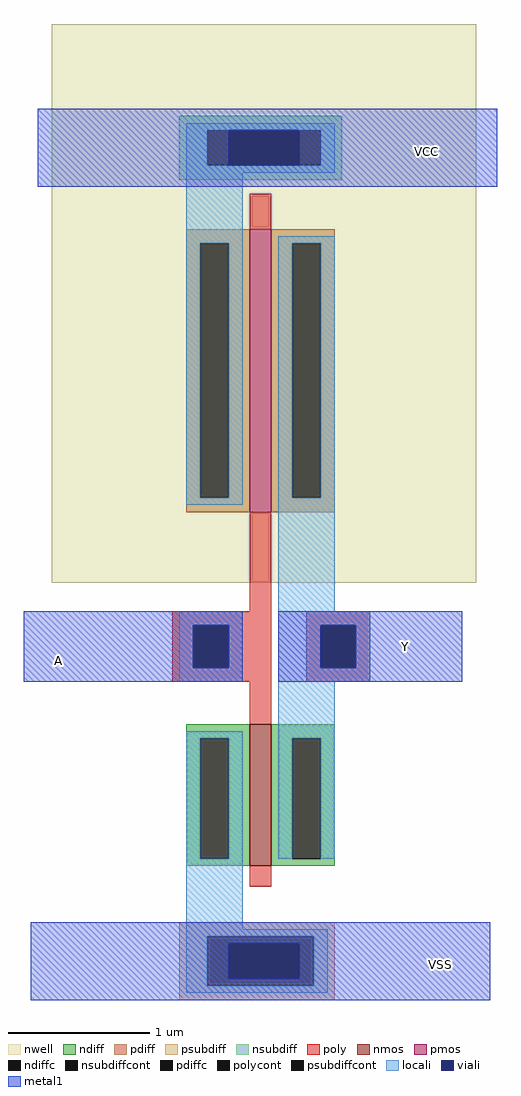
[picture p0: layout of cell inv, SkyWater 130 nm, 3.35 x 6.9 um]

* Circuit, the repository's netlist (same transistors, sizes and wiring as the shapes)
* SPICE3 file created from inv.ext - technology: sky130A

X0 Y A VCC VCC sky130_fd_pr__pfet_01v8 ad=0.9 pd=4.9 as=0.9 ps=4.9 w=2 l=0.15
X1 Y A VSS VSS sky130_fd_pr__nfet_01v8 ad=0.45 pd=2.9 as=0.45 ps=2.9 w=1 l=0.15

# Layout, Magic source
magic
tech sky130A
<< nwell >>
rect -150 -100 150 295
<< nmos >>
rect -10 -300 5 -200
<< pmos >>
rect -10 -50 5 150
<< ndiff >>
rect -55 -210 -10 -200
rect -55 -295 -45 -210
rect -25 -295 -10 -210
rect -55 -300 -10 -295
rect 5 -210 50 -200
rect 5 -295 20 -210
rect 40 -295 50 -210
rect 5 -300 50 -295
<< pdiff >>
rect -55 140 -10 150
rect -55 -40 -45 140
rect -25 -40 -10 140
rect -55 -50 -10 -40
rect 5 140 50 150
rect 5 -40 20 140
rect 40 -40 50 140
rect 5 -50 50 -40
<< ndiffc >>
rect -45 -295 -25 -210
rect 20 -295 40 -210
<< pdiffc >>
rect -45 -40 -25 140
rect 20 -40 40 140
<< psubdiff >>
rect -60 -350 50 -340
rect -60 -385 -40 -350
rect 35 -385 50 -350
rect -60 -395 50 -385
<< nsubdiff >>
rect -60 220 55 230
rect -60 195 -40 220
rect 40 195 55 220
rect -60 185 55 195
<< psubdiffcont >>
rect -40 -385 35 -350
<< nsubdiffcont >>
rect -40 195 40 220
<< poly >>
rect -10 150 5 175
rect -10 -120 5 -50
rect -65 -130 5 -120
rect -65 -160 -50 -130
rect -25 -160 5 -130
rect -65 -170 5 -160
rect 30 -130 75 -120
rect 30 -160 40 -130
rect 65 -160 75 -130
rect 30 -170 75 -160
rect -10 -200 5 -170
rect -10 -315 5 -300
<< polycont >>
rect -50 -160 -25 -130
rect 40 -160 65 -130
<< locali >>
rect -55 220 50 225
rect -55 195 -40 220
rect 40 195 50 220
rect -55 190 50 195
rect -55 140 -15 190
rect -55 -40 -45 140
rect -25 -40 -15 140
rect -55 -45 -15 -40
rect 10 140 50 145
rect 10 -40 20 140
rect 40 -40 50 140
rect 10 -120 50 -40
rect -60 -130 -15 -120
rect -60 -160 -50 -130
rect -25 -160 -15 -130
rect -60 -170 -15 -160
rect 10 -130 75 -120
rect 10 -160 40 -130
rect 65 -160 75 -130
rect 10 -170 75 -160
rect -55 -210 -15 -205
rect -55 -295 -45 -210
rect -25 -295 -15 -210
rect 10 -210 50 -170
rect 10 -295 20 -210
rect 40 -295 50 -210
rect -55 -345 -15 -295
rect -55 -350 45 -345
rect -55 -385 -40 -350
rect 35 -385 45 -350
rect -55 -390 45 -385
<< viali >>
rect -25 195 25 220
rect -50 -160 -25 -130
rect 40 -160 65 -130
rect -25 -380 25 -355
<< metal1 >>
rect -160 220 165 235
rect -160 195 -25 220
rect 25 195 165 220
rect -160 180 165 195
rect -170 -130 -15 -120
rect -170 -160 -50 -130
rect -25 -160 -15 -130
rect -170 -170 -15 -160
rect 10 -130 140 -120
rect 10 -160 40 -130
rect 65 -160 140 -130
rect 10 -170 140 -160
rect -165 -355 160 -340
rect -165 -380 -25 -355
rect 25 -380 160 -355
rect -165 -395 160 -380
<< labels >>
rlabel metal1 105 195 125 215 1 VCC
rlabel metal1 90 -155 110 -135 1 Y
rlabel metal1 -155 -165 -135 -145 1 A
rlabel metal1 115 -380 135 -360 1 VSS
<< end >>
